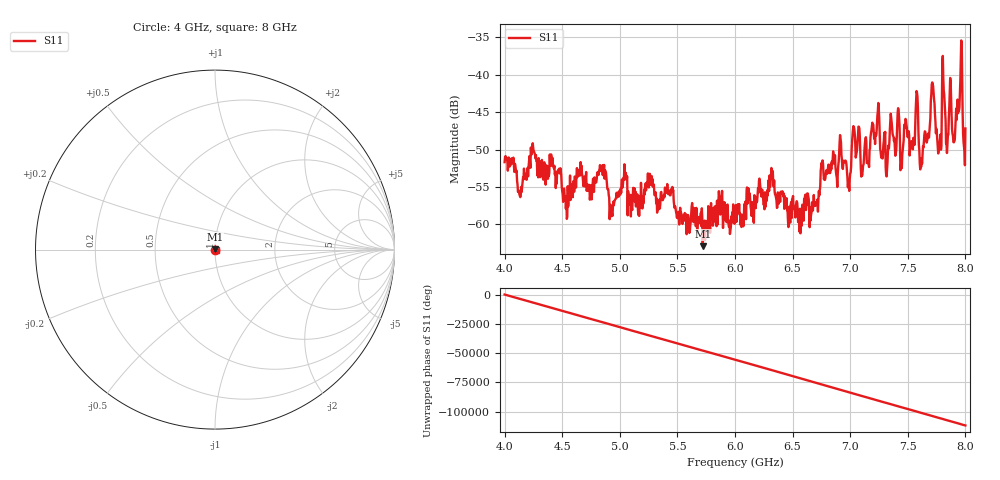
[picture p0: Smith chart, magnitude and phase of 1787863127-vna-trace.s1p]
! Created with skrf 1.10.0 (http://scikit-rf.org).
# Hz S RI R 50.0
!freq ReS11 ImS11
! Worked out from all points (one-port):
!   1001 points, 4 GHz to 8 GHz, reference 50 ohm
!   lowest |S11| = -62.9 dB at 5.72 GHz (marker M1), VSWR 1.00, Z = 50 + j0.0716 ohm
!   |S11| at or under -10 dB: start of sweep to end of sweep
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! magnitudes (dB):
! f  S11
! 4 GHz  -51.7
! 4.132 GHz  -56.2
! 4.248 GHz  -49.8
! 4.5 GHz  -55.5
! 5 GHz  -55.7
! 5.264 GHz  -53.5
! 5.5 GHz  -58.6
! 5.72 GHz  -62.9
! 6 GHz  -57.8
! 6.32 GHz  -53.7
! 6.5 GHz  -56.5
! 6.668 GHz  -57.0
! 6.916 GHz  -48.6
! 7 GHz  -53.2
! 7.032 GHz  -47.0
! 7.108 GHz  -52.9
! 7.232 GHz  -46.8
! 7.32 GHz  -52.6
! 7.36 GHz  -46.4
! 7.5 GHz  -48.4
! 7.58 GHz  -42.4
! 7.62 GHz  -51.2
! 7.716 GHz  -41.2
! 7.772 GHz  -49.6
! 7.812 GHz  -42.1
! 7.904 GHz  -48.9
! 7.952 GHz  -42.8
! 8 GHz  -47.2
